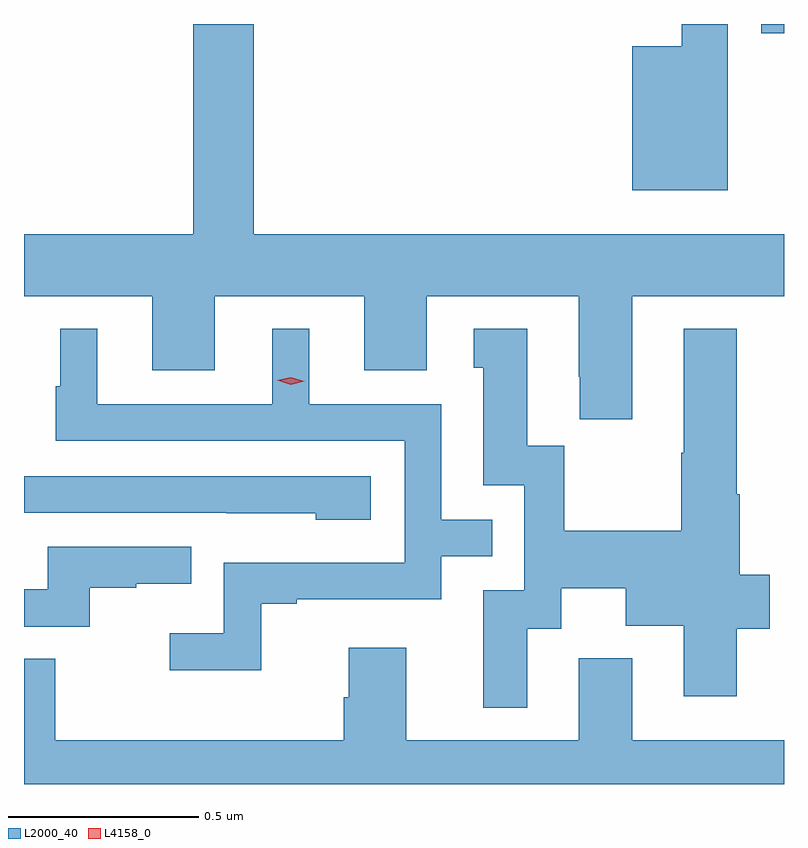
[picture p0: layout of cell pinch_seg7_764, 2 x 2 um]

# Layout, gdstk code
import gdstk
lib = gdstk.Library(unit=1e-6, precision=1e-09)
def R(c, l, rs):  # rectangles x0, y0, x1, y1
    for r in rs: c.add(gdstk.rectangle(r[:2], r[2:], *l))
def P(c, l, *ps):  # polygons
    for p in ps: c.add(gdstk.Polygon(p, *l))
L2000_40 = (2000, 40)
L4158_0 = (4158, 0)

pinch_seg7_764 = lib.new_cell('pinch_seg7_764')
R(pinch_seg7_764, L2000_40, [(335.753,1023.953,335.813,1023.977)])
P(pinch_seg7_764, L2000_40, [(334.315,1023.26),(334.709,1023.26),(334.709,1023.066),(334.873,1023.066),(334.873,1023.26),(335.273,1023.26),(335.273,1023.049),(335.276,1023.049),(335.276,1022.937),(335.413,1022.937),(335.413,1023.26),(335.813,1023.26),(335.813,1023.424),(334.418,1023.424),(334.418,1023.977),(334.258,1023.977),(334.258,1023.424),(333.813,1023.424),(333.813,1023.26),(334.151,1023.26),(334.151,1023.066),(334.315,1023.066)],
  [(335.665,1023.977),(335.544,1023.977),(335.544,1023.919),(335.414,1023.919),(335.414,1023.539),(335.665,1023.539)],
  [(335.137,1022.386),(335.227,1022.386),(335.227,1022.492),(335.396,1022.492),(335.396,1022.393),(335.549,1022.393),(335.549,1022.208),(335.689,1022.208),(335.689,1022.386),(335.776,1022.386),(335.776,1022.528),(335.697,1022.528),(335.697,1022.74),(335.689,1022.74),(335.689,1023.175),(335.549,1023.175),(335.549,1022.849),(335.542,1022.849),(335.542,1022.644),(335.235,1022.644),(335.235,1022.867),(335.137,1022.867),(335.137,1023.175),(334.997,1023.175),(334.997,1023.072),(335.021,1023.072),(335.021,1022.763),(335.13,1022.763),(335.13,1022.487),(335.021,1022.487),(335.021,1022.178),(335.137,1022.178)],
  [(334.437,1022.451),(334.531,1022.451),(334.531,1022.463),(334.911,1022.463),(334.911,1022.577),(335.045,1022.577),(335.045,1022.673),(334.911,1022.673),(334.911,1022.976),(334.564,1022.976),(334.564,1023.175),(334.466,1023.175),(334.466,1022.976),(334.006,1022.976),(334.006,1023.175),(333.908,1023.175),(333.908,1023.024),(333.897,1023.024),(333.897,1022.88),(334.815,1022.88),(334.815,1022.559),(334.338,1022.559),(334.338,1022.374),(334.197,1022.374),(334.197,1022.276),(334.437,1022.276)],
  [(334.726,1022.787),(333.813,1022.787),(333.813,1022.691),(334.345,1022.691),(334.345,1022.69),(334.581,1022.69),(334.581,1022.672),(334.726,1022.672)],
  [(333.986,1022.493),(334.109,1022.493),(334.109,1022.504),(334.253,1022.504),(334.253,1022.601),(333.876,1022.601),(333.876,1022.489),(333.813,1022.489),(333.813,1022.391),(333.986,1022.391)],
  [(335.813,1022.092),(335.413,1022.092),(335.413,1022.308),(335.273,1022.308),(335.273,1022.092),(334.819,1022.092),(334.819,1022.335),(334.667,1022.335),(334.667,1022.205),(334.655,1022.205),(334.655,1022.092),(333.895,1022.092),(333.895,1022.306),(333.813,1022.306),(333.813,1021.977),(335.813,1021.977)])
P(pinch_seg7_764, L4158_0, [(334.515,1023.028),(334.479,1023.039),(334.479,1023.04),(334.479,1023.04),(334.515,1023.048),(334.551,1023.037),(334.551,1023.037),(334.551,1023.037)])

lib.write_gds('pinch_seg7_764.gds')
